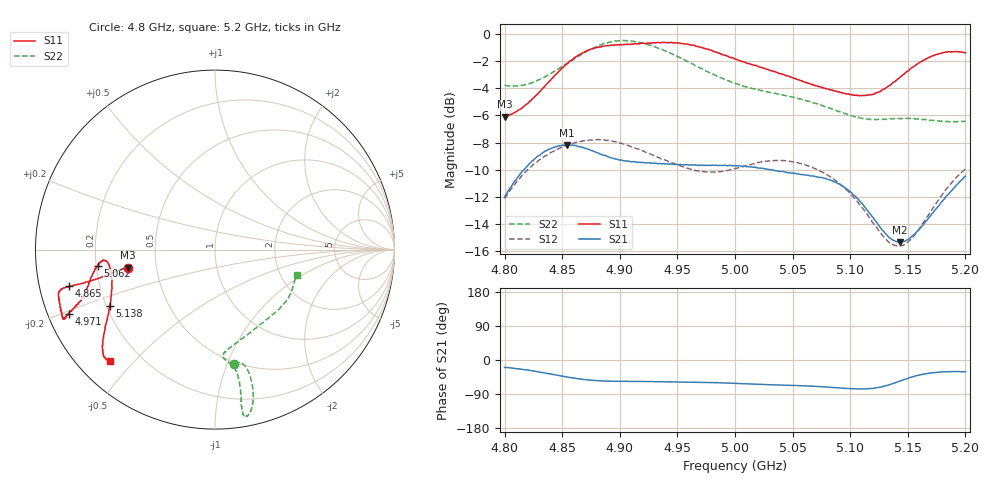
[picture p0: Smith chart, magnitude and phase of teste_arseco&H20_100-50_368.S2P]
! Network Analyzer HP8722D
! Hewlett-Packard
! Data name: Linha & Wilkinson
! Saver's name: Rodrigo Anjos
! Comments: Teste da utilização de aquisição
! continua pelo VNA HP8722D
! Time and date: 6/5/2025 15:38
!  Frequency  S11  S21  S12  S22
# HZ  S  MA R 50
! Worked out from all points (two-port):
!   401 points, 4.8 GHz to 5.2 GHz, reference 50 ohm
!   highest |S21| = -8.17 dB at 4.854 GHz (marker M1); lowest = -15.3 dB at 5.143 GHz (marker M2)
!   |S21| within 3 dB of the highest: 4.806 GHz to 5.093 GHz (286.8 MHz wide, 5.79 % of centre); 5.191679 GHz to end of sweep
!   lowest |S11| = -6.1 dB at 4.8 GHz (marker M3), VSWR 2.97, Z = 17 - j4.58 ohm
!   |S11| at or under -10 dB: nowhere
!   |S22| runs from -6.5 to -0.5 dB; largest |S21 - S12| = 0.62
!   S11 on the Smith chart (normalised r, x): 4.8 GHz: 0.34, -0.09; 4.865 GHz: 0.09, -0.12; 4.971 GHz: 0.06, -0.21; 5.062 GHz: 0.21, -0.07; 5.138 GHz: 0.21, -0.24; 5.2 GHz: 0.09, -0.43
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4.8e9  0.4964 -168.2  0.251 -19.6  0.2482 -140.7  0.6478 -80.4
4.828e9  0.5988 -167.0  0.3532 -30.4  0.3378 -144.7  0.6736 -75.4
4.854e9  0.776 -165.7  0.3903 -44.8  0.3893 -149.6  0.7785 -74.6
4.865e9  0.8383 -165.9  0.3852 -49.7  0.4017 -151.5  0.8316 -75.1
4.867e9  0.8491 -165.8  0.3835 -50.7  0.4032 -151.8  0.8423 -75.3
4.898e9  0.9111 -162.9  0.3453 -56.1  0.3987 -156.3  0.9423 -78.8
4.914e9  0.9213 -159.5  0.3378 -56.3  0.379 -157.0  0.9372 -80.2
4.934e9  0.929 -156.3  0.3336 -57.3  0.3509 -155.5  0.8837 -80.4
4.971e9  0.8908 -156.3  0.3292 -59.2  0.312 -146.4  0.7457 -79.6
5e9  0.8096 -158.8  0.3277 -61.8  0.3192 -137.1  0.6573 -81.3
5.036e9  0.7228 -165.5  0.3139 -65.8  0.3421 -134.2  0.6027 -85.7
5.062e9  0.6602 -172.0  0.3026 -68.3  0.3288 -136.2  0.5676 -83.7
5.067e9  0.6503 -172.9  0.3007 -68.9  0.3234 -136.6  0.5594 -82.6
5.083e9  0.6221 -174.5  0.2893 -72.2  0.2974 -138.1  0.5319 -76.7
5.101e9  0.5976 -172.0  0.2611 -75.7  0.2559 -138.7  0.5004 -66.5
5.117e9  0.5957 -164.9  0.2183 -75.5  0.2099 -135.0  0.485 -55.1
5.134e9  0.6452 -154.1  0.178 -65.3  0.1708 -120.8  0.4865 -43.4
5.138e9  0.6657 -151.9  0.1737 -61.2  0.1674 -115.7  0.4869 -40.8
5.143e9  0.6907 -149.2  0.1712 -56.0  0.1659 -109.1  0.4882 -38.0
5.154e9  0.7536 -144.3  0.181 -44.5  0.1785 -95.1  0.4876 -32.4
5.173e9  0.8341 -138.7  0.2233 -33.1  0.2329 -80.7  0.4798 -24.3
5.2e9  0.8524 -133.4  0.2996 -31.1  0.3185 -76.8  0.4765 -17.6
